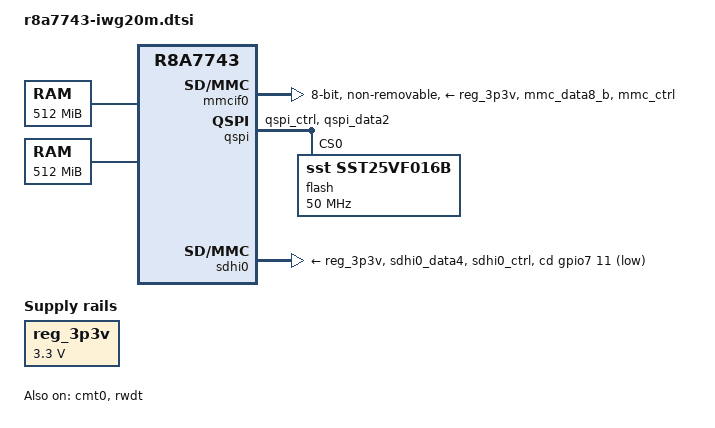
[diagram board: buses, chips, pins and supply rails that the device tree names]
/*
 * Device Tree Source for the iWave-RZG1M-20M Qseven SOM
 *
 * Copyright (C) 2017 Renesas Electronics Corp.
 *
 * This file is licensed under the terms of the GNU General Public License
 * version 2.  This program is licensed "as is" without any warranty of any
 * kind, whether express or implied.
 */

#include "r8a7743.dtsi"
#include <dt-bindings/gpio/gpio.h>

/ {
	compatible = "iwave,g20m", "renesas,r8a7743";

	memory@40000000 {
		device_type = "memory";
		reg = <0 0x40000000 0 0x20000000>;
	};

	memory@200000000 {
		device_type = "memory";
		reg = <2 0x00000000 0 0x20000000>;
	};

	reg_3p3v: 3p3v {
		compatible = "regulator-fixed";
		regulator-name = "3P3V";
		regulator-min-microvolt = <3300000>;
		regulator-max-microvolt = <3300000>;
		regulator-always-on;
		regulator-boot-on;
	};
};

&cmt0 {
	status = "okay";
};

&extal_clk {
	clock-frequency = <20000000>;
};

&pfc {
	mmcif0_pins: mmc {
		groups = "mmc_data8_b", "mmc_ctrl";
		function = "mmc";
	};

	qspi_pins: qspi {
		groups = "qspi_ctrl", "qspi_data2";
		function = "qspi";
	};

	sdhi0_pins: sd0 {
		groups = "sdhi0_data4", "sdhi0_ctrl";
		function = "sdhi0";
		power-source = <3300>;
	};
};

&mmcif0 {
	pinctrl-0 = <&mmcif0_pins>;
	pinctrl-names = "default";

	vmmc-supply = <&reg_3p3v>;
	bus-width = <8>;
	non-removable;
	status = "okay";
};

&qspi {
	pinctrl-0 = <&qspi_pins>;
	pinctrl-names = "default";

	status = "okay";

	/* WARNING - This device contains the bootloader. Handle with care. */
	flash: flash@0 {
		#address-cells = <1>;
		#size-cells = <1>;
		compatible = "sst,sst25vf016b", "jedec,spi-nor";
		reg = <0>;
		spi-max-frequency = <50000000>;
		spi-tx-bus-width = <1>;
		spi-rx-bus-width = <1>;
		m25p,fast-read;
		spi-cpol;
		spi-cpha;
	};
};

&rwdt {
	timeout-sec = <60>;
	status = "okay";
};

&sdhi0 {
	pinctrl-0 = <&sdhi0_pins>;
	pinctrl-names = "default";

	vmmc-supply = <&reg_3p3v>;
	vqmmc-supply = <&reg_3p3v>;
	cd-gpios = <&gpio7 11 GPIO_ACTIVE_LOW>;
	status = "okay";
};
